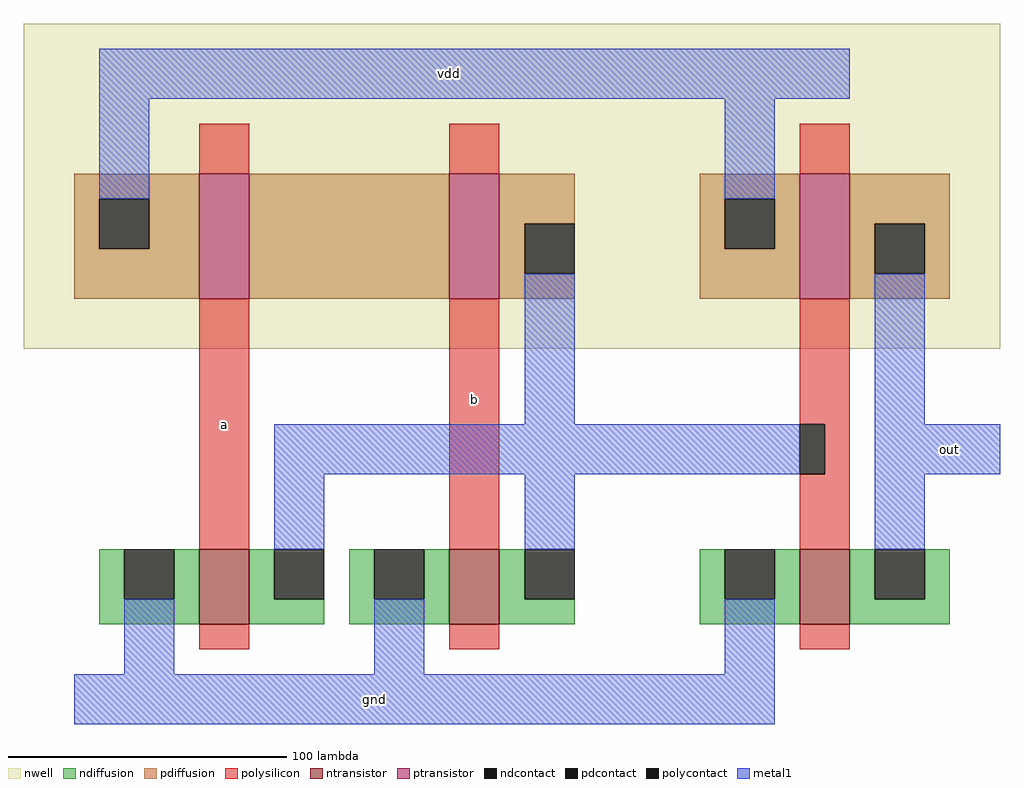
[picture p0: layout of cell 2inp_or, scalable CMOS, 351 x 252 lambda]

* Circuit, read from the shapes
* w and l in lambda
.subckt 2inp_or a b gnd out vdd
M1 n1 a gnd VSUBS nfet w=27 l=18
M2 n1 b gnd VSUBS nfet w=27 l=18
M3 out n1 gnd VSUBS nfet w=27 l=18
M4 n2 a vdd n3 pfet w=45 l=18
M5 n1 b n2 n3 pfet w=45 l=18
M6 out n1 vdd n3 pfet w=45 l=18
.ends

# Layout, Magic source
magic
tech scmos
magscale 9 1
<< nwell >>
rect 17 -26 56 -13
<< ntransistor >>
rect 24 -37 26 -34
rect 34 -37 36 -34
rect 48 -37 50 -34
<< ptransistor >>
rect 24 -24 26 -19
rect 34 -24 36 -19
rect 48 -24 50 -19
<< ndiffusion >>
rect 20 -36 21 -34
rect 23 -36 24 -34
rect 20 -37 24 -36
rect 26 -36 27 -34
rect 26 -37 29 -36
rect 30 -36 31 -34
rect 33 -36 34 -34
rect 30 -37 34 -36
rect 36 -36 37 -34
rect 36 -37 39 -36
rect 44 -36 45 -34
rect 47 -36 48 -34
rect 44 -37 48 -36
rect 50 -36 51 -34
rect 53 -36 54 -34
rect 50 -37 54 -36
<< pdiffusion >>
rect 19 -20 24 -19
rect 19 -22 20 -20
rect 22 -22 24 -20
rect 19 -24 24 -22
rect 26 -24 34 -19
rect 36 -21 39 -19
rect 36 -23 37 -21
rect 36 -24 39 -23
rect 44 -20 48 -19
rect 44 -22 45 -20
rect 47 -22 48 -20
rect 44 -24 48 -22
rect 50 -21 54 -19
rect 50 -23 51 -21
rect 53 -23 54 -21
rect 50 -24 54 -23
<< ndcontact >>
rect 21 -36 23 -34
rect 27 -36 29 -34
rect 31 -36 33 -34
rect 37 -36 39 -34
rect 45 -36 47 -34
rect 51 -36 53 -34
<< pdcontact >>
rect 20 -22 22 -20
rect 37 -23 39 -21
rect 45 -22 47 -20
rect 51 -23 53 -21
<< polysilicon >>
rect 24 -19 26 -17
rect 34 -19 36 -17
rect 48 -19 50 -17
rect 24 -34 26 -24
rect 34 -34 36 -24
rect 48 -29 50 -24
rect 49 -31 50 -29
rect 48 -34 50 -31
rect 24 -38 26 -37
rect 34 -38 36 -37
rect 48 -38 50 -37
<< polycontact >>
rect 48 -31 49 -29
<< metal1 >>
rect 20 -16 50 -14
rect 20 -20 22 -16
rect 45 -20 47 -16
rect 37 -29 39 -23
rect 51 -29 53 -23
rect 27 -31 48 -29
rect 51 -31 56 -29
rect 27 -34 29 -31
rect 37 -34 39 -31
rect 51 -34 53 -31
rect 21 -39 23 -36
rect 31 -39 33 -36
rect 45 -39 47 -36
rect 19 -41 47 -39
<< labels >>
rlabel metal1 31 -40 31 -40 1 gnd
rlabel metal1 34 -15 34 -15 5 vdd
rlabel metal1 54 -30 54 -30 7 out
rlabel polysilicon 25 -29 25 -29 1 a
rlabel polysilicon 35 -28 35 -28 1 b
<< end >>
